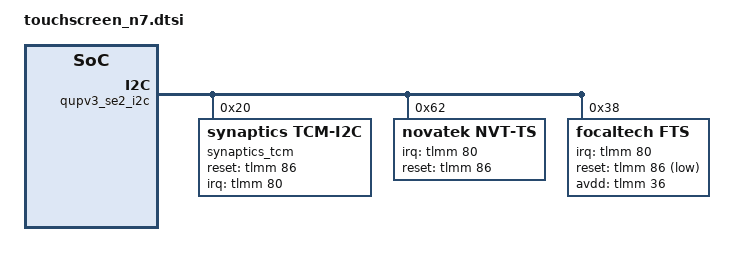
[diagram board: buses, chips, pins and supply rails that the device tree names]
&qupv3_se2_i2c {
	qcom,i2c-touch-active = "focaltech,fts";
	status = "okay";

    synaptics_tcm@20 {
        panel = <&dsi_td4330_truly_v2_video &dsi_td4330_truly_v2_cmd>;
        synaptics,firmware-name = "synaptics_firmware_k.img";
        synaptics,extend_report;
        synaptics,ubl-i2c-addr = <0x20>;
        synaptics,power-delay-ms = <200>;
        synaptics,reset-delay-ms = <200>;
        synaptics,reset-active-ms = <20>;
        synaptics,reset-on-state = <0x00>;
        synaptics,reset-gpio = <&tlmm 86 0x00>;
        synaptics,irq-on-state = <0x00>;
        synaptics,irq-gpio = <&tlmm 80 0x2008>;
        pinctrl-2 = <&ts_release>;
        pinctrl-1 = <&ts_int_suspend &ts_reset_suspend>;
        pinctrl-0 = <&ts_int_active &ts_reset_active>;
        pinctrl-names = "pmx_ts_active", "pmx_ts_suspend", "pmx_ts_release";
        interrupts = <80 0x2008>;
        interrupt-parent = <&tlmm>;
        reg = <0x20>;
        compatible = "synaptics,tcm-i2c";
    };

    novatek@62 {
        status = "ok";
        compatible = "novatek,NVT-ts";
        reg = <0x62>;
        panel = <&dsi_nt36672e_fhd_plus_90hz_video &dsi_nt36672e_fhd_plus_120hz_video>;
        novatek,irq-gpio = <&tlmm 80 0x2008>;
        novatek,reset-gpio = <&tlmm 86 0x00>;
        pinctrl-2 = <&ts_release>;
        pinctrl-1 = <&ts_int_suspend &ts_reset_suspend>;
        pinctrl-0 = <&ts_int_active &ts_reset_active>;
        pinctrl-names = "pmx_ts_active", "pmx_ts_suspend", "pmx_ts_release";
        interrupts = <80 0x2008>;
        interrupt-parent = <&tlmm>;
    };

    focaltech@38 {
        status = "okay";
        compatible = "focaltech,fts";
        reg = <0x38>;
        pinctrl-2 = <&ts_release>;
        pinctrl-1 = <&ts_int_suspend &ts_reset_suspend>;
        pinctrl-0 = <&ts_int_active &ts_reset_active &ts_avdd>;
        pinctrl-names = "pmx_ts_active", "pmx_ts_suspend", "pmx_ts_release";
        panel = <&dsi_n7_38_0c_0a_video>;
        focaltech,display-coords = <0 0 1080 2400>;
        focaltech,max-touch-number = <10>;
        focaltech,irq-gpio = <&tlmm 80 0x02>;
        focaltech,reset-gpio = <&tlmm 86 0x01>;
        focaltech,avdd-gpio = <&tlmm 36 0x00>;
        interrupts = <80 0x02>;
        interrupt-parent = <&tlmm>;
    };
};
